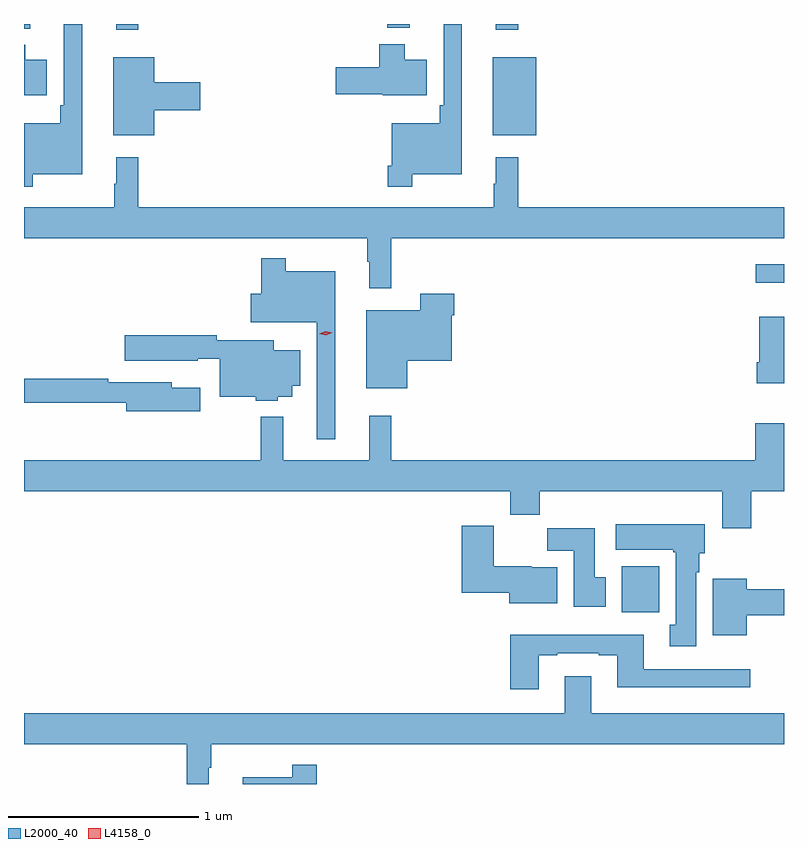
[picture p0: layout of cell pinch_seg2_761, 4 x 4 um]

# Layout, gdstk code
import gdstk
lib = gdstk.Library(unit=1e-6, precision=1e-09)
def R(c, l, rs):  # rectangles x0, y0, x1, y1
    for r in rs: c.add(gdstk.rectangle(r[:2], r[2:], *l))
def P(c, l, *ps):  # polygons
    for p in ps: c.add(gdstk.Polygon(p, *l))
L2000_40 = (2000, 40)
L4158_0 = (4158, 0)

pinch_seg2_761 = lib.new_cell('pinch_seg2_761')
R(pinch_seg2_761, L2000_40, [(737.825,637.676,738.022,637.918), (738.531,639.411,738.679,639.508), (737.147,640.187,737.374,640.597), (735.164,640.743,735.281,640.772), (737.162,640.743,737.279,640.772), (734.679,640.748,734.711,640.772), (736.591,640.751,736.709,640.772)])
P(pinch_seg2_761, L2000_40, [(734.725,639.98),(734.986,639.98),(734.986,640.772),(734.889,640.772),(734.889,640.345),(734.869,640.345),(734.869,640.249),(734.679,640.249),(734.679,639.915),(734.725,639.915)],
  [(736.723,639.98),(736.984,639.98),(736.984,640.772),(736.887,640.772),(736.887,640.345),(736.867,640.345),(736.867,640.249),(736.614,640.249),(736.614,640.027),(736.594,640.027),(736.594,639.915),(736.723,639.915)],
  [(736.798,640.585),(736.684,640.585),(736.684,640.666),(736.55,640.666),(736.55,640.545),(736.32,640.545),(736.32,640.403),(736.566,640.403),(736.566,640.397),(736.798,640.397)],
  [(734.8,640.585),(734.686,640.585),(734.686,640.663),(734.679,640.663),(734.679,640.397),(734.8,640.397)],
  [(735.364,640.319),(735.607,640.319),(735.607,640.466),(735.364,640.466),(735.364,640.597),(735.149,640.597),(735.149,640.187),(735.364,640.187)],
  [(736.613,639.644),(738.679,639.644),(738.679,639.808),(737.279,639.808),(737.279,640.072),(737.162,640.072),(737.162,639.932),(737.151,639.932),(737.151,639.808),(735.281,639.808),(735.281,640.072),(735.164,640.072),(735.164,639.932),(735.153,639.932),(735.153,639.808),(734.679,639.808),(734.679,639.644),(736.485,639.644),(736.485,639.521),(736.496,639.521),(736.496,639.381),(736.613,639.381)],
  [(736.318,639.472),(736.057,639.472),(736.057,639.538),(735.928,639.538),(735.928,639.351),(735.872,639.351),(735.872,639.203),(736.221,639.203),(736.221,638.586),(736.318,638.586)],
  [(736.696,638.999),(736.93,638.999),(736.93,639.239),(736.943,639.239),(736.943,639.352),(736.765,639.352),(736.765,639.265),(736.481,639.265),(736.481,638.855),(736.696,638.855)],
  [(738.679,639.232),(738.548,639.232),(738.548,638.992),(738.536,638.992),(738.536,638.88),(738.679,638.88)],
  [(736.014,638.81),(736.09,638.81),(736.09,638.867),(736.132,638.867),(736.132,639.055),(735.994,639.055),(735.994,639.108),(735.694,639.108),(735.694,639.134),(735.21,639.134),(735.21,638.999),(735.594,638.999),(735.594,639.011),(735.71,639.011),(735.71,638.81),(735.9,638.81),(735.9,638.789),(736.014,638.789)],
  [(735.607,638.857),(735.457,638.857),(735.457,638.886),(735.122,638.886),(735.122,638.906),(734.679,638.906),(734.679,638.778),(735.218,638.778),(735.218,638.735),(735.607,638.735)],
  [(738.506,638.312),(738.679,638.312),(738.679,638.671),(738.527,638.671),(738.527,638.476),(736.613,638.476),(736.613,638.71),(736.496,638.71),(736.496,638.476),(736.043,638.476),(736.043,638.704),(735.925,638.704),(735.925,638.476),(734.679,638.476),(734.679,638.312),(737.237,638.312),(737.237,638.188),(737.393,638.188),(737.393,638.312),(738.353,638.312),(738.353,638.118),(738.506,638.118)],
  [(738.217,637.886),(738.232,637.886),(738.232,637.986),(738.262,637.986),(738.262,638.14),(737.793,638.14),(737.793,638.006),(738.097,638.006),(738.097,637.993),(738.11,637.993),(738.11,637.61),(738.077,637.61),(738.077,637.497),(738.217,637.497)],
  [(737.485,637.912),(737.352,637.912),(737.352,637.918),(737.152,637.918),(737.152,638.131),(736.982,638.131),(736.982,637.778),(737.234,637.778),(737.234,637.724),(737.485,637.724)],
  [(737.74,637.86),(737.683,637.86),(737.683,638.119),(737.434,638.119),(737.434,638),(737.573,638),(737.573,637.704),(737.74,637.704)],
  [(738.484,637.66),(738.679,637.66),(738.679,637.796),(738.484,637.796),(738.484,637.852),(738.305,637.852),(738.305,637.556),(738.484,637.556)],
  [(737.389,637.449),(737.485,637.449),(737.485,637.461),(737.705,637.461),(737.705,637.449),(737.801,637.449),(737.801,637.28),(738.502,637.28),(738.502,637.377),(737.941,637.377),(737.941,637.558),(737.237,637.558),(737.237,637.272),(737.389,637.272)],
  [(735.652,636.857),(735.664,636.857),(735.664,636.98),(738.679,636.98),(738.679,637.144),(737.665,637.144),(737.665,637.339),(737.525,637.339),(737.525,637.144),(734.679,637.144),(734.679,636.98),(735.535,636.98),(735.535,636.772),(735.652,636.772)],
  [(736.22,636.874),(736.092,636.874),(736.092,636.808),(735.83,636.808),(735.83,636.772),(736.22,636.772)])
P(pinch_seg2_761, L4158_0, [(736.267,639.134),(736.232,639.142),(736.231,639.142),(736.232,639.142),(736.266,639.154),(736.302,639.147),(736.302,639.147),(736.302,639.147)])

lib.write_gds('pinch_seg2_761.gds')
